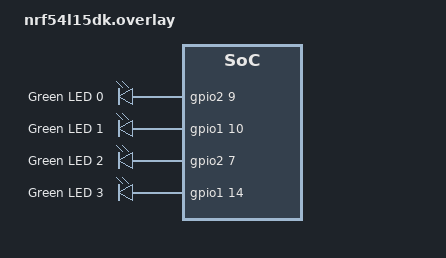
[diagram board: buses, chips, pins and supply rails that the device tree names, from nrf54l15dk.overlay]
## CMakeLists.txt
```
cmake_minimum_required(VERSION 3.20.0)
find_package(Zephyr REQUIRED HINTS $ENV{ZEPHYR_BASE})

project(ble_tut)

target_sources(app PRIVATE 
    src/main.c
    src/leds.c
)
```

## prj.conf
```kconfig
CONFIG_BT_ADV_PROV=y
CONFIG_BT_ADV_PROV_DEVICE_NAME=y
CONFIG_BT_ADV_PROV_DEVICE_NAME_PAIRING_MODE_ONLY=n
CONFIG_LED=y
CONFIG_LOG=y
CONFIG_BT=y
CONFIG_GPIO=y
```

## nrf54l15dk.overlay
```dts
/ {
    leds {
        compatible = "gpio-leds";
        led0: led_0 {
            gpios = <&gpio2 9 GPIO_ACTIVE_HIGH>;
            label = "Green LED 0";
        };
        led1: led_1 {
            gpios = <&gpio1 10 GPIO_ACTIVE_HIGH>;
            label = "Green LED 1";
        };
        led2: led_2 {
            gpios = <&gpio2 7 GPIO_ACTIVE_HIGH>;
            label = "Green LED 2";
        };
        led3: led_3 {
            gpios = <&gpio1 14 GPIO_ACTIVE_HIGH>;
            label = "Green LED 3";
        };
    };
};
```

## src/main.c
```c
#include "leds.h"
#include <zephyr/device.h>
#include <zephyr/drivers/gpio.h>
#include <zephyr/kernel.h>
#include <zephyr/logging/log.h>

LOG_MODULE_REGISTER(main, LOG_LEVEL_DBG);

#define STACKSIZE KB(1)

void leds_thread(void *led_arr, void *p2, void *p3) {
  LOG_INF("Starting LED control thread");
  configure_leds((const struct gpio_dt_spec *)led_arr, 4);

  while (1) {
    cycle_leds(led_arr, 4);
    cycle_leds(led_arr, 4);
    cycle_leds(led_arr, 4);

    k_msleep(700);
  }
}

K_THREAD_STACK_DEFINE(led_thread_stack, STACKSIZE);
static struct k_thread led_thread_data;

int main(void) {
  const struct gpio_dt_spec led_arr[] = {led0, led1, led3, led2};

  k_tid_t led_tid =
      k_thread_create(&led_thread_data, led_thread_stack, STACKSIZE,
                      leds_thread, (void *)led_arr, NULL, NULL,
                      K_LOWEST_APPLICATION_THREAD_PRIO, 0, K_NO_WAIT);

  LOG_INF("LED thread started with tid %p", (void *)led_tid);

  // Optionally we can while(1) {}
  k_sleep(K_FOREVER);

  return 0;
}
```

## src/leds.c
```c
#include <stdio.h>

#include "leds.h"
#include <zephyr/logging/log.h>
#include <zephyr/kernel.h>

LOG_MODULE_REGISTER(configure_leds, LOG_LEVEL_DBG);

void configure_leds(const struct gpio_dt_spec led_arr[], size_t len) {
  int ret;

  for (size_t i = 0; i < len; i++) {
    const struct gpio_dt_spec led = led_arr[i];

    if (!gpio_is_ready_dt(&led)) {
      LOG_ERR("Failed to get led %d ready", i);
    }

    ret = gpio_pin_configure_dt(&led, GPIO_OUTPUT);
    if (ret < 0) {
      LOG_ERR("Failed to configure led %d", i);
    } else {
      LOG_DBG("Configured led %d", i);
    }
  }
}

void cycle_leds(const struct gpio_dt_spec led_arr[], size_t len) {

  for (size_t i = 0; i < len; i++) {
    const struct gpio_dt_spec led = led_arr[i];

    gpio_pin_set_dt(&led, 1);
    k_msleep(CYCLE_SLEEP_MS);
    gpio_pin_set_dt(&led, 0);
    k_msleep(CYCLE_SLEEP_MS);
  }
}
```

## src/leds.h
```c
#pragma once

#include <zephyr/drivers/gpio.h>

#define LED0_NODE DT_PATH(leds, led_0)
#define LED1_NODE DT_PATH(leds, led_1)
#define LED2_NODE DT_PATH(leds, led_2)
#define LED3_NODE DT_PATH(leds, led_3)

#define CYCLE_SLEEP_MS 20

static const struct gpio_dt_spec led0 = GPIO_DT_SPEC_GET(LED0_NODE, gpios);
static const struct gpio_dt_spec led1 = GPIO_DT_SPEC_GET(LED1_NODE, gpios);
static const struct gpio_dt_spec led2 = GPIO_DT_SPEC_GET(LED2_NODE, gpios);
static const struct gpio_dt_spec led3 = GPIO_DT_SPEC_GET(LED3_NODE, gpios);

void configure_leds(const struct gpio_dt_spec led_arr[], size_t len);
void cycle_leds(const struct gpio_dt_spec led_arr[], size_t len);
```
